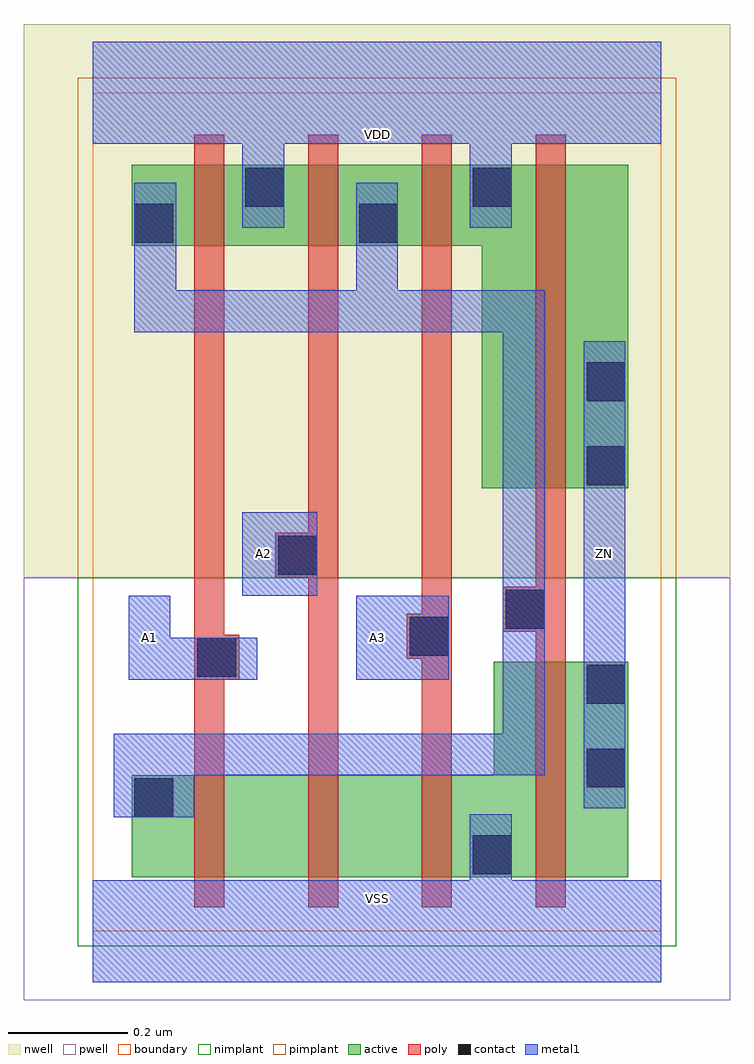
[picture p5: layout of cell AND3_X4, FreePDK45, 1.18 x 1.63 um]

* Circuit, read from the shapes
.subckt AND3_X4 A1 A2 A3 VDD VSS ZN
M1 n1 A1 n2 VSUBS nfet w=0.17u l=0.05u
M2 n3 A2 n1 VSUBS nfet w=0.17u l=0.05u
M3 VSS A3 n3 VSUBS nfet w=0.17u l=0.05u
M4 ZN n2 VSS VSUBS nfet w=0.36u l=0.05u
M5 VDD A1 n2 n4 pfet w=0.135u l=0.05u
M6 n2 A2 VDD n4 pfet w=0.135u l=0.05u
M7 VDD A3 n2 n4 pfet w=0.135u l=0.05u
M8 ZN n2 VDD n4 pfet w=0.54u l=0.05u
.ends

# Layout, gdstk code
import gdstk
lib = gdstk.Library(unit=1e-6, precision=1e-10)
def R(c, l, rs):  # rectangles x0, y0, x1, y1
    for r in rs: c.add(gdstk.rectangle(r[:2], r[2:], *l))
def P(c, l, *ps):  # polygons
    for p in ps: c.add(gdstk.Polygon(p, *l))
active = (1, 0)
pwell = (2, 0)
nwell = (3, 0)
nimplant = (4, 0)
pimplant = (5, 0)
poly = (9, 0)
contact = (10, 0)
metal1 = (11, 0)
boundary = (235, 0)

and3_x4 = lib.new_cell('AND3_X4')
P(and3_x4, active, [(0.065,0.09),(0.895,0.09),(0.895,0.45),(0.67,0.45),(0.67,0.26),(0.065,0.26)],
  [(0.065,1.145),(0.65,1.145),(0.65,0.74),(0.895,0.74),(0.895,1.28),(0.065,1.28)])
R(and3_x4, pwell, [(-0.115,-0.115,1.065,0.59)])
R(and3_x4, nwell, [(-0.115,0.59,1.065,1.515)])
R(and3_x4, nimplant, [(-0.025,-0.025,0.975,0.59)])
R(and3_x4, pimplant, [(-0.025,0.59,0.975,1.425)])
P(and3_x4, poly, [(0.17,0.04),(0.22,0.04),(0.22,0.42),(0.245,0.42),(0.245,0.495),(0.22,0.495),(0.22,1.33),(0.17,1.33)],
  [(0.305,0.59),(0.36,0.59),(0.36,0.04),(0.41,0.04),(0.41,1.33),(0.36,1.33),(0.36,0.665),(0.305,0.665)],
  [(0.525,0.455),(0.55,0.455),(0.55,0.04),(0.6,0.04),(0.6,1.33),(0.55,1.33),(0.55,0.53),(0.525,0.53)],
  [(0.685,0.5),(0.74,0.5),(0.74,0.04),(0.79,0.04),(0.79,1.33),(0.74,1.33),(0.74,0.575),(0.685,0.575)])
R(and3_x4, contact, [(0.635,0.095,0.7,0.16), (0.07,0.19,0.135,0.255), (0.825,0.24,0.89,0.305), (0.825,0.38,0.89,0.445), (0.175,0.425,0.24,0.49), (0.53,0.46,0.595,0.525), (0.69,0.505,0.755,0.57), (0.31,0.595,0.375,0.66), (0.825,0.745,0.89,0.81), (0.825,0.885,0.89,0.95), (0.07,1.15,0.135,1.215), (0.445,1.15,0.51,1.215), (0.255,1.21,0.32,1.275), (0.635,1.21,0.7,1.275)])
R(and3_x4, metal1, [(0.82,0.205,0.89,0.985), (0.44,0.42,0.595,0.56), (0.25,0.56,0.375,0.7)])
P(and3_x4, metal1, [(0.06,0.42),(0.275,0.42),(0.275,0.49),(0.13,0.49),(0.13,0.56),(0.06,0.56)],
  [(0.07,1),(0.685,1),(0.685,0.33),(0.035,0.33),(0.035,0.19),(0.17,0.19),(0.17,0.26),(0.755,0.26),(0.755,1.07),(0.51,1.07),(0.51,1.25),(0.44,1.25),(0.44,1.07),(0.14,1.07),(0.14,1.25),(0.07,1.25)],
  [(0,-0.085),(0.95,-0.085),(0.95,0.085),(0.7,0.085),(0.7,0.195),(0.63,0.195),(0.63,0.085),(0,0.085)],
  [(0,1.315),(0.25,1.315),(0.25,1.175),(0.32,1.175),(0.32,1.315),(0.63,1.315),(0.63,1.175),(0.7,1.175),(0.7,1.315),(0.95,1.315),(0.95,1.485),(0,1.485)])
R(and3_x4, boundary, [(0,0,0.95,1.4)])
and3_x4.add(gdstk.Label('A1', (0.095,0.49), layer=11, texttype=0))
and3_x4.add(gdstk.Label('A2', (0.285,0.63), layer=11, texttype=0))
and3_x4.add(gdstk.Label('A3', (0.475,0.49), layer=11, texttype=0))
and3_x4.add(gdstk.Label('VDD', (0.475,1.33), layer=11, texttype=0))
and3_x4.add(gdstk.Label('VSS', (0.475,0.055), layer=11, texttype=0))
and3_x4.add(gdstk.Label('ZN', (0.855,0.63), layer=11, texttype=0))

lib.write_gds('AND3_X4.gds')
